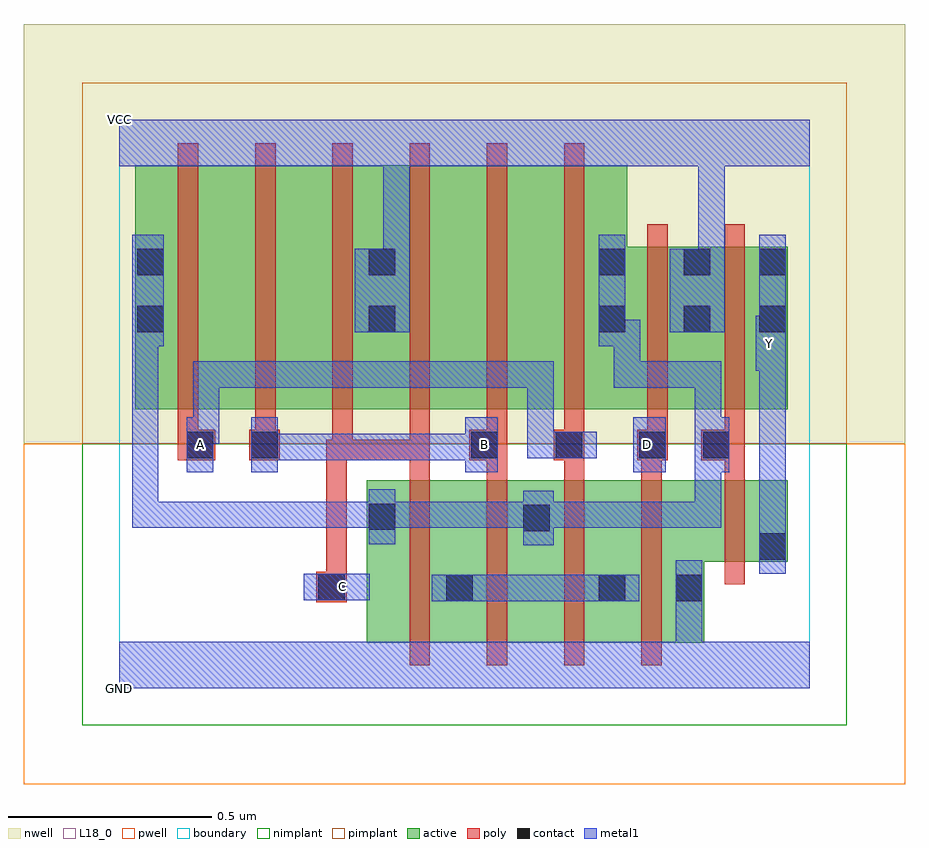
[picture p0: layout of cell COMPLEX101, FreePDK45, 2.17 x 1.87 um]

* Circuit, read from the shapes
.subckt COMPLEX101 A B C D GND VCC Y
M1 n1 C n2 VSUBS nfet w=0.4u l=0.05u
M2 n2 B n1 VSUBS nfet w=0.4u l=0.05u
M3 n1 A n2 VSUBS nfet w=0.4u l=0.05u
M4 GND D n1 VSUBS nfet w=0.4u l=0.05u
M5 Y n2 GND VSUBS nfet w=0.2u l=0.05u
M6 n3 A n2 n4 pfet w=0.6u l=0.05u
M7 n5 B n3 n4 pfet w=0.6u l=0.05u
M8 VCC C n5 n4 pfet w=0.6u l=0.05u
M9 n6 C VCC n4 pfet w=0.6u l=0.05u
M10 n7 B n6 n4 pfet w=0.6u l=0.05u
M11 n2 A n7 n4 pfet w=0.6u l=0.05u
M12 VCC D n2 n4 pfet w=0.4u l=0.05u
M13 Y n2 VCC n4 pfet w=0.4u l=0.05u
.ends

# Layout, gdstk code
import gdstk
lib = gdstk.Library(unit=1e-6, precision=1e-09)
def R(c, l, rs):  # rectangles x0, y0, x1, y1
    for r in rs: c.add(gdstk.rectangle(r[:2], r[2:], *l))
def A(c, l, x, y, w, h, nx, ny, dx, dy):  # array of equal rectangles
    R(c, l, [(x+i*dx, y+j*dy, x+i*dx+w, y+j*dy+h) for i in range(nx) for j in range(ny)])
active = (1, 0)
pwell = (2, 0)
nwell = (3, 0)
nimplant = (4, 0)
pimplant = (5, 0)
poly = (9, 0)
contact = (10, 0)
metal1 = (11, 0)
L18_0 = (18, 0)
boundary = (235, 0)

complex101 = lib.new_cell('COMPLEX101')
R(complex101, active, [(0.61,0.112,0.875,0.512), (0.8,0.112,1.065,0.512), (0.99,0.112,1.25,0.512), (1.175,0.112,1.44,0.512), (1.365,0.112,1.44,0.312), (0.61,0.147,0.685,0.512), (0.8,0.147,0.875,0.492), (0.99,0.147,1.065,0.492), (1.175,0.147,1.25,0.492), (1.365,0.312,1.645,0.512), (1.57,0.312,1.645,0.512), (0.04,0.687,0.265,1.287), (0.04,0.687,0.145,1.2), (0.265,0.687,0.455,1.287), (0.455,0.687,0.685,1.287), (0.61,0.687,0.835,1.287), (0.835,0.687,1.025,1.287), (1.025,0.687,1.25,1.287), (1.175,0.687,1.46,1.087), (1.175,0.687,1.25,1.2), (1.385,0.687,1.645,1.087), (1.57,0.687,1.645,1.087), (0.61,0.707,0.685,1.287), (1.385,0.802,1.46,1.087)])
R(complex101, pwell, [(-0.235,-0.235,1.935,0.602)])
R(complex101, nwell, [(-0.235,0.602,1.935,1.635)])
R(complex101, nimplant, [(-0.09,-0.09,1.79,0.602)])
R(complex101, pimplant, [(-0.09,0.602,1.79,1.49)])
A(complex101, poly, 0.715, 0.057, 0.05, 0.51, 4, 1, 0.19, 0)
A(complex101, poly, 0.715, 0.517, 0.05, 0.095, 4, 1, 0.19, 0)
A(complex101, poly, 0.145, 0.632, 0.05, 0.71, 6, 1, 0.19, 0)
R(complex101, poly, [(0.485,0.212,0.56,0.287), (0.51,0.237,0.56,0.612), (1.49,0.257,1.54,0.567), (1.49,0.517,1.54,0.612), (0.145,0.562,0.237,0.637), (0.32,0.562,0.395,0.637), (0.51,0.562,0.56,0.612), (0.51,0.562,0.56,0.612), (0.51,0.562,0.575,0.612), (0.525,0.562,0.575,0.682), (0.525,0.562,0.765,0.612), (0.525,0.562,0.575,0.612), (0.525,0.562,0.575,0.612), (0.715,0.562,0.765,0.682), (0.715,0.562,0.765,0.612), (0.862,0.562,0.955,0.637), (1.07,0.562,1.145,0.637), (1.275,0.562,1.35,0.637), (1.432,0.562,1.54,0.637), (0.145,0.587,0.195,0.682), (0.335,0.587,0.385,0.682), (0.905,0.587,0.955,0.682), (1.095,0.587,1.145,0.682), (1.3,0.587,1.35,0.682), (1.49,0.587,1.54,0.682), (1.3,0.632,1.35,1.142), (1.49,0.632,1.54,1.142)])
R(complex101, contact, [(0.805,0.215,0.87,0.28), (1.18,0.215,1.245,0.28), (1.37,0.215,1.435,0.28), (0.49,0.217,0.555,0.282), (1.575,0.317,1.64,0.382), (0.995,0.387,1.06,0.452), (0.615,0.39,0.68,0.455), (0.167,0.567,0.232,0.632), (0.325,0.567,0.39,0.632), (0.867,0.567,0.932,0.632), (1.075,0.567,1.14,0.632), (1.28,0.567,1.345,0.632), (1.437,0.567,1.502,0.632), (0.045,0.877,0.11,0.942), (0.615,0.877,0.68,0.942), (1.18,0.877,1.245,0.942), (1.39,0.877,1.455,0.942), (1.575,0.877,1.64,0.942), (0.045,1.017,0.11,1.082), (0.615,1.017,0.68,1.082), (1.18,1.017,1.245,1.082), (1.39,1.017,1.455,1.082), (1.575,1.017,1.64,1.082)])
R(complex101, metal1, [(0,0,1.7,0.115), (1.37,0.05,1.435,0.245), (1.37,0.18,1.435,0.315), (0.77,0.215,0.905,0.28), (0.84,0.215,0.905,0.28), (0.84,0.215,0.905,0.28), (0.84,0.215,1.055,0.28), (0.99,0.215,1.055,0.28), (0.99,0.215,1.07,0.28), (1.005,0.215,1.07,0.28), (1.005,0.215,1.21,0.28), (1.145,0.215,1.28,0.28), (0.455,0.217,0.617,0.282), (1.575,0.282,1.64,0.417), (0.995,0.352,1.07,0.487), (1.575,0.352,1.64,0.847), (0.615,0.355,0.68,0.49), (0.032,0.395,0.097,0.46), (0.032,0.395,0.097,0.46), (0.032,0.395,0.097,0.46), (0.032,0.395,0.217,0.46), (0.032,0.395,0.097,0.907), (0.152,0.395,0.217,0.46), (0.152,0.395,0.247,0.46), (0.182,0.395,0.247,0.46), (0.182,0.395,0.382,0.46), (0.317,0.395,0.382,0.46), (0.317,0.395,0.49,0.46), (0.425,0.395,0.49,0.46), (0.425,0.395,0.527,0.46), (0.462,0.395,0.527,0.46), (0.462,0.395,0.68,0.46), (0.615,0.395,0.767,0.46), (0.702,0.395,0.767,0.46), (0.702,0.395,0.917,0.46), (0.852,0.395,0.917,0.46), (0.852,0.395,0.917,0.46), (0.852,0.395,0.917,0.46), (0.852,0.395,1.06,0.46), (1.005,0.395,1.07,0.46), (1.005,0.395,1.07,0.46), (1.005,0.395,1.282,0.46), (1.217,0.395,1.282,0.46), (1.217,0.395,1.282,0.46), (1.217,0.395,1.282,0.46), (1.217,0.395,1.482,0.46), (1.417,0.395,1.482,0.46), (1.417,0.395,1.482,0.597), (0.167,0.532,0.232,0.667), (0.325,0.532,0.39,0.667), (0.852,0.532,0.932,0.667), (1.265,0.532,1.345,0.667), (1.417,0.532,1.482,0.597), (1.417,0.532,1.502,0.597), (1.417,0.532,1.482,0.805), (1.437,0.532,1.502,0.667), (0.325,0.562,0.39,0.627), (0.325,0.562,0.39,0.627), (0.325,0.562,0.627,0.627), (0.562,0.562,0.627,0.627), (0.562,0.562,0.627,0.627), (0.562,0.562,0.627,0.627), (0.562,0.562,0.765,0.627), (0.7,0.562,0.765,0.627), (0.7,0.562,0.917,0.627), (0.852,0.562,0.917,0.627), (0.852,0.562,0.917,0.627), (1.005,0.567,1.07,0.632), (1.005,0.567,1.105,0.632), (1.005,0.567,1.07,0.805), (1.04,0.567,1.175,0.632), (0.167,0.602,0.247,0.667), (0.182,0.602,0.247,0.667), (0.182,0.602,0.247,0.805), (0.182,0.74,0.247,0.805), (0.182,0.74,0.382,0.805), (0.317,0.74,0.382,0.805), (0.317,0.74,0.392,0.805), (0.327,0.74,0.392,0.805), (0.327,0.74,0.527,0.805), (0.462,0.74,0.527,0.805), (0.462,0.74,0.687,0.805), (0.622,0.74,0.687,0.805), (0.622,0.74,0.765,0.805), (0.7,0.74,0.765,0.805), (0.7,0.74,0.917,0.805), (0.852,0.74,0.917,0.805), (0.852,0.74,0.917,0.805), (0.852,0.74,0.917,0.805), (0.852,0.74,1.07,0.805), (1.005,0.74,1.07,0.805), (1.217,0.74,1.482,0.805), (1.217,0.74,1.282,0.907), (1.417,0.74,1.482,0.805), (1.567,0.782,1.64,0.917), (0.032,0.842,0.11,1.117), (1.18,0.842,1.245,1.117), (1.18,0.842,1.282,0.907), (1.575,0.842,1.64,0.907), (1.575,0.842,1.64,1.117), (0.58,0.877,0.715,1.082), (1.355,0.877,1.49,1.082), (0.65,1.017,0.715,1.35), (1.425,1.017,1.49,1.35), (0,1.285,1.7,1.4), (1.425,1.285,1.49,1.35), (1.425,1.285,1.49,1.35)])
R(complex101, L18_0, [(0,0,1.7,0.115), (1.37,0.05,1.435,0.245), (1.37,0.18,1.435,0.315), (0.455,0.217,0.617,0.282), (0.517,0.217,0.582,0.282), (1.575,0.282,1.64,0.417), (1.575,0.352,1.64,0.847), (0.167,0.532,0.232,0.667), (0.325,0.532,0.39,0.667), (0.852,0.532,0.932,0.667), (1.265,0.532,1.345,0.667), (0.325,0.562,0.39,0.627), (0.325,0.562,0.39,0.627), (0.325,0.562,0.627,0.627), (0.562,0.562,0.627,0.627), (0.562,0.562,0.627,0.627), (0.562,0.562,0.627,0.627), (0.562,0.562,0.765,0.627), (0.7,0.562,0.765,0.627), (0.7,0.562,0.917,0.627), (0.852,0.562,0.917,0.627), (0.852,0.562,0.917,0.627), (0.167,0.567,0.232,0.632), (0.867,0.567,0.932,0.632), (1.005,0.567,1.07,0.632), (1.005,0.567,1.07,0.805), (1.005,0.567,1.105,0.632), (1.04,0.567,1.175,0.632), (1.267,0.567,1.332,0.632), (0.167,0.602,0.247,0.667), (0.182,0.602,0.247,0.667), (0.182,0.602,0.247,0.805), (0.182,0.74,0.247,0.805), (0.182,0.74,0.382,0.805), (0.317,0.74,0.382,0.805), (0.317,0.74,0.392,0.805), (0.327,0.74,0.392,0.805), (0.327,0.74,0.527,0.805), (0.462,0.74,0.527,0.805), (0.462,0.74,0.687,0.805), (0.622,0.74,0.687,0.805), (0.622,0.74,0.765,0.805), (0.7,0.74,0.765,0.805), (0.7,0.74,0.917,0.805), (0.852,0.74,0.917,0.805), (0.852,0.74,0.917,0.805), (0.852,0.74,0.917,0.805), (0.852,0.74,1.07,0.805), (1.005,0.74,1.07,0.805), (1.567,0.782,1.64,0.917), (1.567,0.817,1.632,0.882), (1.575,0.842,1.64,0.907), (1.575,0.842,1.64,1.117), (0.58,0.877,0.715,1.082), (1.355,0.877,1.49,1.082), (0.65,1.017,0.715,1.35), (1.425,1.017,1.49,1.35), (0,1.285,1.7,1.4), (1.425,1.285,1.49,1.35), (1.425,1.285,1.49,1.35)])
R(complex101, boundary, [(0,0,1.7,1.4)])
complex101.add(gdstk.Label('A', (0.2,0.6), layer=11, texttype=0))
complex101.add(gdstk.Label('B', (0.9,0.6), layer=11, texttype=0))
complex101.add(gdstk.Label('C', (0.55,0.25), layer=11, texttype=0))
complex101.add(gdstk.Label('D', (1.3,0.6), layer=11, texttype=0))
complex101.add(gdstk.Label('Y', (1.6,0.85), layer=11, texttype=0))
complex101.add(gdstk.Label('VCC', (0,1.4), layer=11, texttype=0))
complex101.add(gdstk.Label('GND', (0,0), layer=11, texttype=0))

lib.write_gds('COMPLEX101.gds')
